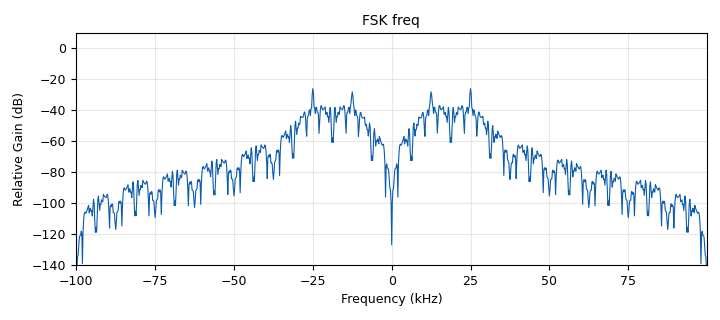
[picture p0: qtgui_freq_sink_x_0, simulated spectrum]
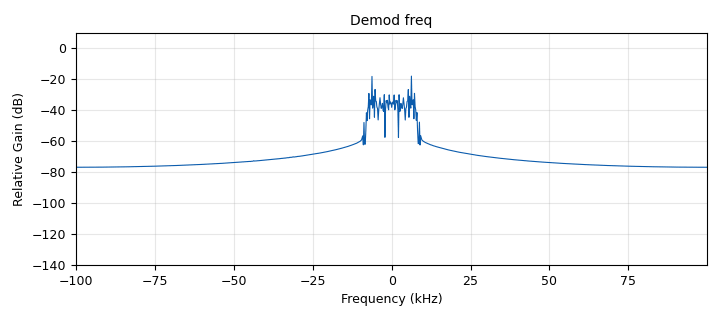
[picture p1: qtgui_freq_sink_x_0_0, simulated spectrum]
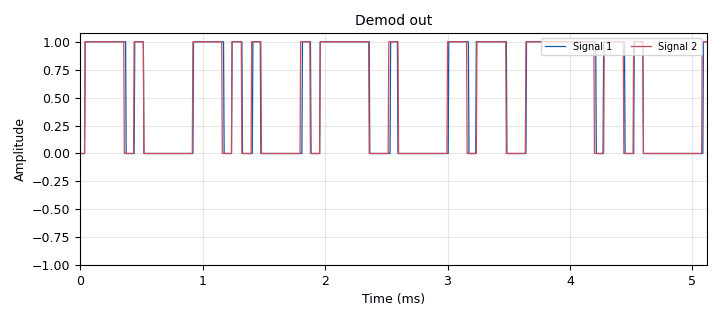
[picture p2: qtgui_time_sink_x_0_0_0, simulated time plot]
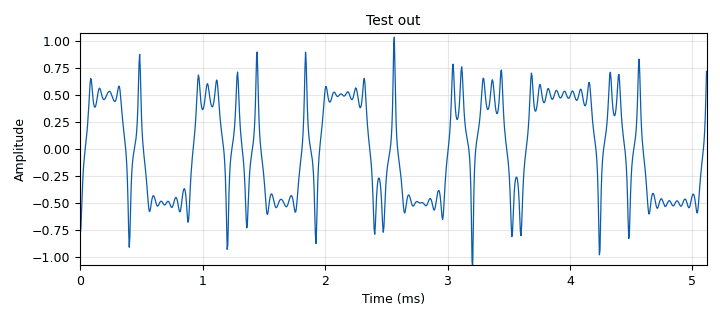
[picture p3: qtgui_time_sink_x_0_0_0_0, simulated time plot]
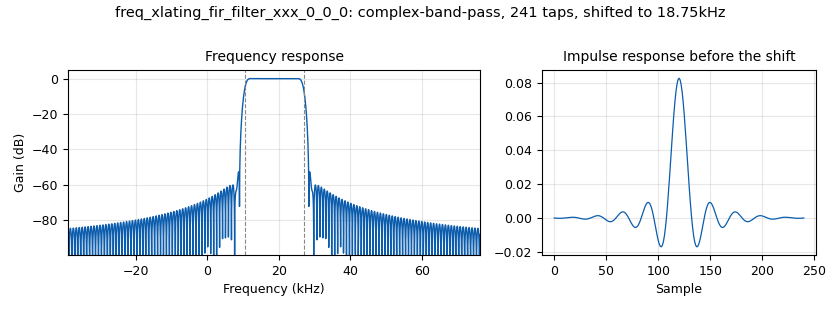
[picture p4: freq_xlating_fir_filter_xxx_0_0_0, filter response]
options:
  parameters:
    author: tobias
    generate_options: qt_gui
    id: BFSK
    output_language: python
    title: 2FSK
  states: {}

blocks:
- name: TH
  id: variable
  parameters:
    value: bandwidth*spec_eff
  states: {}
- name: bandwidth
  id: variable
  parameters:
    value: 25e3
  states: {}
- name: decimation
  id: variable
  parameters:
    value: '1'
  states: {}
- name: fsk
  id: variable
  parameters:
    value: '2'
  states: {}
- name: interp
  id: variable
  parameters:
    value: samp_rate/(spec_eff*bandwidth)
  states: {}
- name: samp_rate
  id: variable
  parameters:
    value: 200e3
  states: {}
- name: spec_eff
  id: variable
  parameters:
    value: '0.5'
  states: {}
- name: transition_bw
  id: variable
  parameters:
    value: 2e3
  states: {}
- name: vco_sens
  id: variable
  parameters:
    value: (2*math.pi*TH)
  states: {}
- name: analog_quadrature_demod_cf_0
  id: analog_quadrature_demod_cf
  parameters:
    gain: (samp_rate)/(2*math.pi*TH)
  states: {}
- name: analog_random_source_x_0
  id: analog_random_source_x
  parameters:
    max: '2'
    min: '0'
    num_samps: int(samp_rate)
    repeat: 'True'
    type: byte
  states: {}
- name: analog_simple_squelch_cc_0
  id: analog_simple_squelch_cc
  parameters:
    alpha: '1'
    threshold: '-25'
  states: {}
- name: blocks_add_const_vxx_0
  id: blocks_add_const_vxx
  parameters:
    const: '1'
    type: float
  states: {}
- name: blocks_delay_0
  id: blocks_delay
  parameters:
    delay: '120'
    type: float
  states: {}
- name: blocks_pack_k_bits_bb_0
  id: blocks_pack_k_bits_bb
  parameters:
    k: int(math.log2(fsk))
  states: {}
- name: blocks_repeat_0
  id: blocks_repeat
  parameters:
    interp: int(interp)
    type: byte
  states: {}
- name: blocks_throttle_0
  id: blocks_throttle
  parameters:
    samples_per_second: samp_rate
    type: byte
  states: {}
- name: blocks_uchar_to_float_0
  id: blocks_uchar_to_float
  parameters: {}
  states: {}
- name: blocks_uchar_to_float_1
  id: blocks_uchar_to_float
  parameters: {}
  states: {}
- name: blocks_vco_f_0
  id: blocks_vco_f
  parameters:
    amplitude: '0.5'
    samp_rate: samp_rate
    sensitivity: vco_sens
  states: {}
- name: digital_binary_slicer_fb_0
  id: digital_binary_slicer_fb
  parameters: {}
  states: {}
- name: freq_xlating_fir_filter_xxx_0_0_0
  id: freq_xlating_fir_filter_xxx
  parameters:
    center_freq: (TH)*3/2
    decim: decimation
    samp_rate: samp_rate
    taps: firdes.complex_band_pass(1, samp_rate, -TH/2  - transition_bw, TH/2 + transition_bw, transition_bw)
    type: fcc
  states: {}
- name: import_0
  id: import
  parameters:
    imports: import math
  states: {}
- name: qtgui_freq_sink_x_0
  id: qtgui_freq_sink_x
  parameters:
    bw: samp_rate
    fc: '0'
    fftsize: '1024'
    name: '"FSK freq"'
    type: float
  states: {}
- name: qtgui_freq_sink_x_0_0
  id: qtgui_freq_sink_x
  parameters:
    bw: samp_rate
    fc: '0'
    fftsize: '1024'
    name: '"Demod freq"'
    type: complex
    wintype: window.WIN_RECTANGULAR
  states: {}
- name: qtgui_time_sink_x_0_0_0
  id: qtgui_time_sink_x
  parameters:
    name: '"Demod out"'
    nconnections: '2'
    size: '1024'
    srate: samp_rate
    type: float
  states: {}
- name: qtgui_time_sink_x_0_0_0_0
  id: qtgui_time_sink_x
  parameters:
    name: '"Test out"'
    size: '1024'
    srate: samp_rate
    type: float
  states: {}
- name: virtual_sink_0
  id: virtual_sink
  parameters:
    stream_id: fsk_out
  states: {}
- name: virtual_source_0
  id: virtual_source
  parameters:
    stream_id: fsk_out
  states: {}

connections:
- [analog_quadrature_demod_cf_0, '0', digital_binary_slicer_fb_0, '0']
- [analog_quadrature_demod_cf_0, '0', qtgui_time_sink_x_0_0_0_0, '0']
- [analog_random_source_x_0, '0', blocks_throttle_0, '0']
- [analog_simple_squelch_cc_0, '0', analog_quadrature_demod_cf_0, '0']
- [blocks_add_const_vxx_0, '0', blocks_vco_f_0, '0']
- [blocks_delay_0, '0', qtgui_time_sink_x_0_0_0, '1']
- [blocks_pack_k_bits_bb_0, '0', blocks_repeat_0, '0']
- [blocks_repeat_0, '0', blocks_uchar_to_float_0, '0']
- [blocks_throttle_0, '0', blocks_pack_k_bits_bb_0, '0']
- [blocks_uchar_to_float_0, '0', blocks_add_const_vxx_0, '0']
- [blocks_uchar_to_float_0, '0', blocks_delay_0, '0']
- [blocks_uchar_to_float_1, '0', qtgui_time_sink_x_0_0_0, '0']
- [blocks_vco_f_0, '0', qtgui_freq_sink_x_0, '0']
- [blocks_vco_f_0, '0', virtual_sink_0, '0']
- [digital_binary_slicer_fb_0, '0', blocks_uchar_to_float_1, '0']
- [freq_xlating_fir_filter_xxx_0_0_0, '0', analog_simple_squelch_cc_0, '0']
- [freq_xlating_fir_filter_xxx_0_0_0, '0', qtgui_freq_sink_x_0_0, '0']
- [virtual_source_0, '0', freq_xlating_fir_filter_xxx_0_0_0, '0']

metadata:
  file_format: 1
  grc_version: 3.10.5.1
